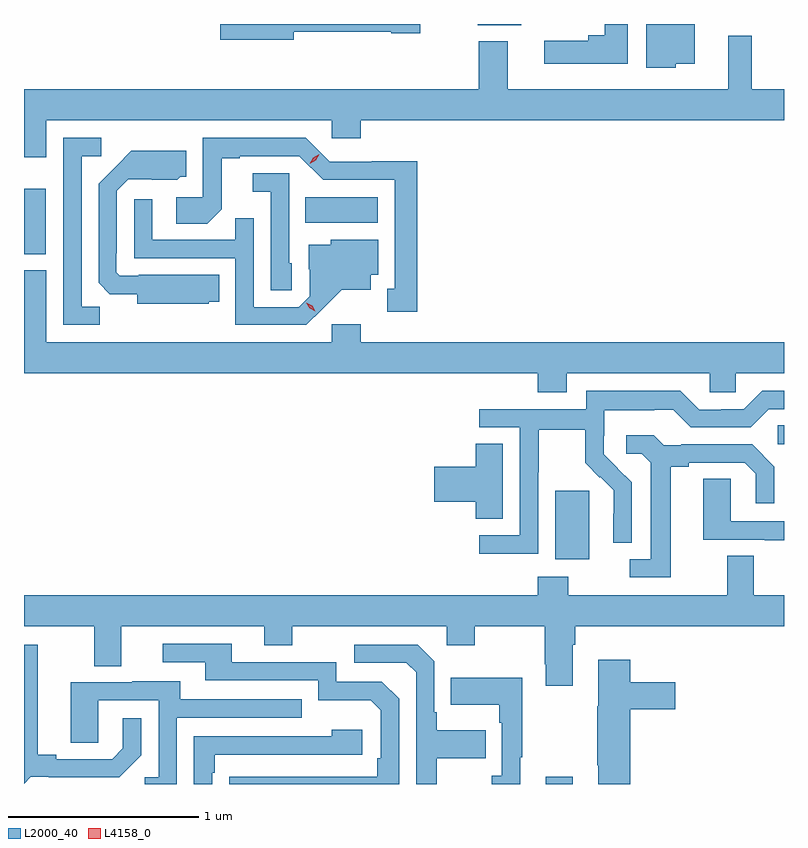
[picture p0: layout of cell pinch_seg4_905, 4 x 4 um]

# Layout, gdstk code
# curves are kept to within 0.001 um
import gdstk
lib = gdstk.Library(unit=1e-6, precision=1e-09)
def R(c, l, rs):  # rectangles x0, y0, x1, y1
    for r in rs: c.add(gdstk.rectangle(r[:2], r[2:], *l))
def P(c, l, *ps):  # polygons
    for p in ps: c.add(gdstk.Polygon(p, *l))
L2000_40 = (2000, 40)
L4158_0 = (4158, 0)

pinch_seg4_905 = lib.new_cell('pinch_seg4_905')
R(pinch_seg4_905, L2000_40, [(745.805,823.963,745.945,824.002), (745.853,825.146,746.032,825.507), (747.024,825.75,747.058,825.851), (743.058,826.751,743.173,827.095), (744.538,826.916,744.919,827.05), (745.446,827.957,745.675,827.963)])
P(pinch_seg4_905, L2000_40, [(746.236,827.963),(746.114,827.963),(746.114,827.905),(746.027,827.905),(746.027,827.875),(745.797,827.875),(745.797,827.753),(746.236,827.753)],
  [(746.487,827.753),(746.587,827.753),(746.587,827.963),(746.333,827.963),(746.333,827.732),(746.487,827.732)],
  [(744.478,827.922),(744.99,827.922),(744.99,827.914),(745.144,827.914),(745.144,827.963),(744.09,827.963),(744.09,827.879),(744.478,827.879)],
  [(743.176,827.456),(744.678,827.456),(744.678,827.363),(744.83,827.363),(744.83,827.456),(747.058,827.456),(747.058,827.62),(746.887,827.62),(746.887,827.902),(746.765,827.902),(746.765,827.62),(745.603,827.62),(745.603,827.872),(745.451,827.872),(745.451,827.62),(743.058,827.62),(743.058,827.262),(743.176,827.262)],
  [(743.457,826.475),(743.361,826.475),(743.361,827.268),(743.464,827.268),(743.464,827.364),(743.265,827.364),(743.265,826.38),(743.457,826.38)],
  [(745.129,827.24),(744.888,827.24),(744.888,827.238),(744.666,827.238),(744.54,827.364),(744,827.364),(744,827.052),(743.859,827.052),(743.859,826.912),(744.023,826.912),(744.099,826.988),(744.099,827.256),(744.193,827.256),(744.193,827.268),(744.507,827.268),(744.633,827.142),(745.01,827.142),(745.01,826.569),(744.971,826.569),(744.971,826.449),(745.129,826.449)],
  [(744.03,826.502),(744.086,826.502),(744.086,826.642),(743.662,826.642),(743.662,826.638),(743.562,826.638),(743.544,826.656),(743.544,826.756),(743.547,826.756),(743.547,827.085),(743.607,827.145),(743.864,827.144),(743.88,827.16),(743.911,827.16),(743.911,827.296),(743.623,827.296),(743.451,827.122),(743.451,826.6),(743.51,826.541),(743.654,826.541),(743.654,826.49),(744.03,826.49)],
  [(744.468,826.704),(744.453,826.704),(744.453,827.178),(744.261,827.178),(744.261,827.081),(744.357,827.081),(744.357,826.561),(744.468,826.561)],
  [(744.628,826.463),(744.731,826.565),(744.883,826.565),(744.883,826.644),(744.922,826.644),(744.922,826.828),(744.672,826.828),(744.672,826.801),(744.557,826.801),(744.557,826.672),(744.561,826.672),(744.561,826.53),(744.504,826.473),(744.267,826.473),(744.267,826.94),(744.169,826.94),(744.169,826.827),(743.733,826.827),(743.733,827.041),(743.637,827.041),(743.637,826.731),(744.171,826.731),(744.171,826.38),(744.544,826.38)],
  [(745.915,826.124),(746.667,826.124),(746.667,826.026),(746.805,826.026),(746.805,826.124),(747.058,826.124),(747.058,826.288),(744.83,826.288),(744.83,826.384),(744.678,826.384),(744.678,826.288),(743.176,826.288),(743.176,826.666),(743.058,826.666),(743.058,826.124),(745.763,826.124),(745.763,826.025),(745.915,826.025)],
  [(745.764,825.604),(745.767,825.604),(745.767,825.828),(746.011,825.828),(746.011,825.653),(746.088,825.576),(746.091,825.579),(746.162,825.509),(746.162,825.386),(746.16,825.386),(746.16,825.232),(746.256,825.232),(746.256,825.55),(746.11,825.698),(746.11,825.795),(746.112,825.795),(746.112,825.929),(746.375,825.929),(746.375,825.933),(746.475,825.933),(746.568,825.84),(746.883,825.84),(746.979,825.936),(747.058,825.936),(747.058,826.032),(746.943,826.032),(746.847,825.936),(746.729,825.936),(746.729,825.933),(746.613,825.933),(746.513,826.033),(746.016,826.033),(746.016,825.936),(745.455,825.936),(745.455,825.84),(745.668,825.84),(745.668,825.273),(745.455,825.273),(745.455,825.175),(745.764,825.175)],
  [(746.461,825.632),(746.557,825.632),(746.557,825.654),(746.852,825.654),(746.909,825.597),(746.909,825.441),(747.006,825.441),(747.006,825.634),(746.89,825.75),(746.518,825.75),(746.518,825.747),(746.424,825.747),(746.372,825.799),(746.229,825.799),(746.229,825.702),(746.31,825.702),(746.357,825.655),(746.357,825.147),(746.247,825.147),(746.247,825.051),(746.461,825.051)],
  [(745.579,825.755),(745.436,825.755),(745.436,825.632),(745.218,825.632),(745.218,825.449),(745.436,825.449),(745.436,825.358),(745.579,825.358)],
  [(747.058,825.345),(746.778,825.345),(746.778,825.569),(746.633,825.569),(746.633,825.249),(746.957,825.249),(746.957,825.245),(747.058,825.245)],
  [(745.945,824.696),(745.958,824.696),(745.958,824.792),(747.058,824.792),(747.058,824.956),(746.899,824.956),(746.899,825.164),(746.759,825.164),(746.759,824.956),(745.923,824.956),(745.923,825.055),(745.763,825.055),(745.763,824.956),(743.058,824.956),(743.058,824.792),(743.429,824.792),(743.429,824.584),(743.569,824.584),(743.569,824.792),(744.323,824.792),(744.323,824.693),(744.471,824.693),(744.471,824.792),(745.284,824.792),(745.284,824.693),(745.431,824.693),(745.431,824.792),(745.798,824.792),(745.798,824.593),(745.805,824.593),(745.805,824.481),(745.945,824.481)],
  [(745.032,824.412),(744.942,824.502),(744.702,824.502),(744.702,824.604),(744.151,824.604),(744.151,824.7),(743.787,824.7),(743.787,824.604),(744.011,824.604),(744.011,824.508),(744.606,824.508),(744.606,824.405),(744.883,824.405),(744.936,824.352),(744.936,824.098),(744.916,824.098),(744.916,824.001),(744.139,824),(744.139,823.963),(745.032,823.963)],
  [(745.231,824.098),(745.487,824.098),(745.487,824.245),(745.231,824.245),(745.231,824.341),(745.218,824.341),(745.218,824.61),(745.131,824.697),(744.795,824.697),(744.795,824.601),(745.071,824.601),(745.122,824.55),(745.122,823.963),(745.231,823.963)],
  [(743.094,824.001),(743.188,824.001),(743.188,823.998),(743.56,823.998),(743.676,824.114),(743.676,824.308),(743.579,824.308),(743.579,824.151),(743.522,824.094),(743.227,824.094),(743.227,824.117),(743.131,824.117),(743.131,824.697),(743.058,824.697),(743.058,823.965)],
  [(746.249,824.357),(746.485,824.357),(746.485,824.499),(746.249,824.499),(746.249,824.617),(746.081,824.617),(746.081,824.373),(746.074,824.373),(746.074,824.062),(746.081,824.062),(746.081,823.963),(746.249,823.963)],
  [(745.669,824.105),(745.681,824.105),(745.681,824.521),(745.303,824.521),(745.303,824.381),(745.56,824.381),(745.56,824.285),(745.572,824.285),(745.572,824.006),(745.521,824.006),(745.521,823.963),(745.669,823.963)],
  [(743.862,824.313),(744.521,824.313),(744.521,824.409),(743.881,824.409),(743.881,824.503),(743.627,824.503),(743.627,824.499),(743.303,824.499),(743.303,824.179),(743.448,824.179),(743.448,824.403),(743.766,824.403),(743.766,823.998),(743.694,823.998),(743.694,823.963),(743.862,823.963)],
  [(744.048,824.021),(744.061,824.021),(744.061,824.118),(744.838,824.118),(744.838,824.248),(744.677,824.248),(744.677,824.214),(743.952,824.214),(743.952,823.963),(744.048,823.963)])
P(pinch_seg4_905, L4158_0, [(744.562,827.227),(744.562,827.227),(744.58,827.259),(744.612,827.277),(744.612,827.277),(744.612,827.277),(744.594,827.245),(744.562,827.227)],
  [(744.592,826.452),(744.561,826.466),(744.544,826.496),(744.544,826.496),(744.544,826.496),(744.575,826.481),(744.592,826.452),(744.592,826.452)])

lib.write_gds('pinch_seg4_905.gds')
